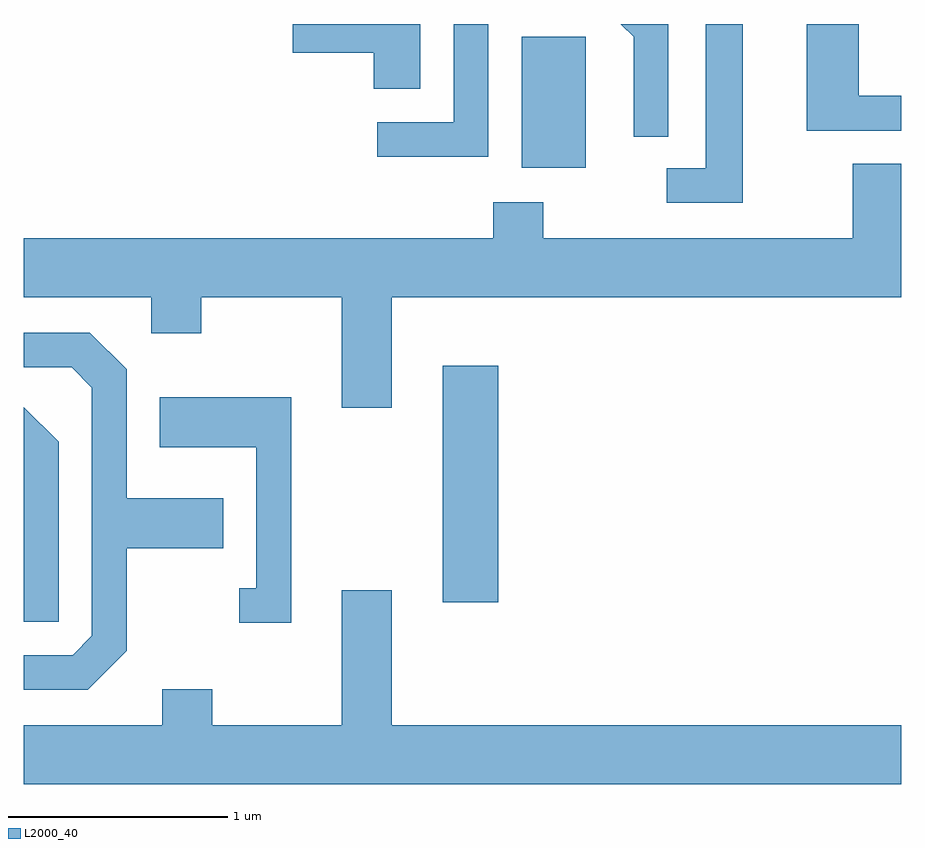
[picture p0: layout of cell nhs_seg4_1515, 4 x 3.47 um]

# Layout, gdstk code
import gdstk
lib = gdstk.Library(unit=1e-6, precision=1e-09)
def R(c, l, rs):  # rectangles x0, y0, x1, y1
    for r in rs: c.add(gdstk.rectangle(r[:2], r[2:], *l))
def P(c, l, *ps):  # polygons
    for p in ps: c.add(gdstk.Polygon(p, *l))
L2000_40 = (2000, 40)

nhs_seg4_1515 = lib.new_cell('nhs_seg4_1515')
R(nhs_seg4_1515, L2000_40, [(231.521,1293.346,231.774,1294.424), (231.881,1295.326,232.174,1295.924)])
P(nhs_seg4_1515, L2000_40, [(232.889,1295.982),(232.721,1295.982),(232.721,1295.324),(232.543,1295.324),(232.543,1295.166),(232.889,1295.166)],
  [(231.729,1295.982),(231.571,1295.982),(231.571,1295.534),(231.223,1295.534),(231.223,1295.376),(231.729,1295.376)],
  [(232.549,1295.982),(232.333,1295.982),(232.391,1295.924),(232.391,1295.468),(232.549,1295.468)],
  [(231.419,1295.982),(230.836,1295.982),(230.836,1295.851),(231.206,1295.851),(231.206,1295.686),(231.419,1295.686)],
  [(233.611,1295.654),(233.419,1295.654),(233.419,1295.982),(233.181,1295.982),(233.181,1295.496),(233.611,1295.496)],
  [(231.289,1294.736),(233.611,1294.736),(233.611,1295.344),(233.391,1295.344),(233.391,1295.004),(231.979,1295.004),(231.979,1295.169),(231.751,1295.169),(231.751,1295.004),(229.611,1295.004),(229.611,1294.736),(230.191,1294.736),(230.191,1294.571),(230.419,1294.571),(230.419,1294.736),(231.061,1294.736),(231.061,1294.231),(231.289,1294.231)],
  [(230.079,1293.124),(230.079,1293.591),(230.519,1293.591),(230.519,1293.819),(230.079,1293.819),(230.079,1294.407),(229.912,1294.574),(229.611,1294.574),(229.611,1294.416),(229.829,1294.416),(229.921,1294.324),(229.921,1293.192),(229.834,1293.104),(229.611,1293.104),(229.611,1292.946),(229.902,1292.946)],
  [(230.829,1294.279),(230.231,1294.279),(230.231,1294.051),(230.671,1294.051),(230.671,1293.409),(230.593,1293.409),(230.593,1293.251),(230.829,1293.251)],
  [(229.769,1294.077),(229.611,1294.235),(229.611,1293.256),(229.769,1293.256)],
  [(233.611,1292.784),(231.289,1292.784),(231.289,1293.399),(231.061,1293.399),(231.061,1292.784),(230.469,1292.784),(230.469,1292.949),(230.241,1292.949),(230.241,1292.784),(229.611,1292.784),(229.611,1292.516),(233.611,1292.516)])

lib.write_gds('nhs_seg4_1515.gds')
